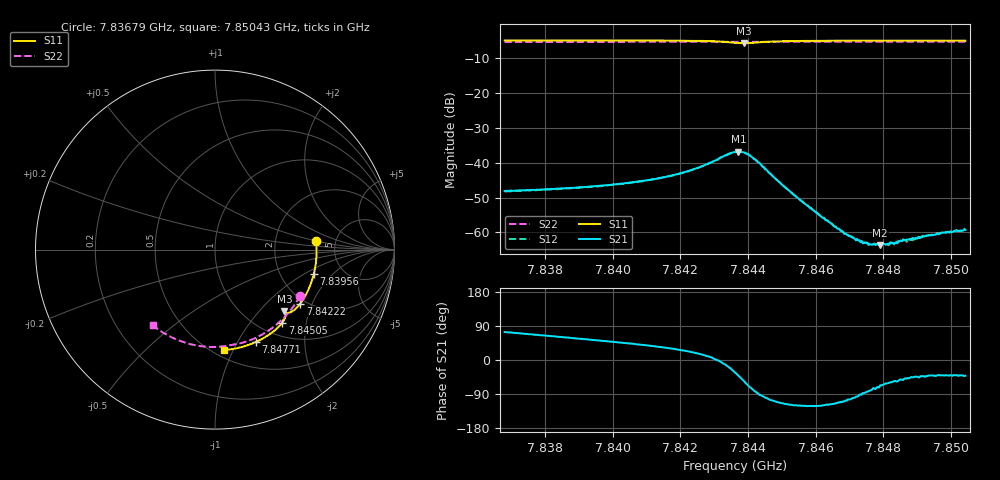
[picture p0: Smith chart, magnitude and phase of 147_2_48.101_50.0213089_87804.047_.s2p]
#  HZ  S  RI  R  50.00
! Rohde & Schwarz Vector Network Analyzer
! Rohde-Schwarz,ZNB20-2Port,1311601062101988,3.16
! Created: UTC 12/23/2023, 3:49:23 AM
! freq[Hz]  re:S11  im:S11  re:S21  im:S21  re:S12  im:S12  re:S22  im:S22
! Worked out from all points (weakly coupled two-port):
!   401 points, 7.83679 GHz to 7.85043 GHz, reference 50 ohm
!   highest |S21| = -36.82 dB at 7.84372 GHz (marker M1); lowest = -63.6 dB at 7.84791 GHz (marker M2)
!   lowest |S11| = -5.7 dB at 7.84389 GHz (marker M3), VSWR 3.14, Z = 73.9 - j69.5 ohm
!   |S11| at or under -10 dB: nowhere
!   |S22| runs from -5.4 to -5.3 dB; largest |S21 - S12| = 0.00043
!   S11 on the Smith chart (normalised r, x): 7.83679 GHz: 3.53, +0.51; 7.83956 GHz: 3.09, -1.22; 7.84222 GHz: 1.87, -1.65; 7.84505 GHz: 1.25, -1.46; 7.84771 GHz: 0.79, -1.20; 7.85043 GHz: 0.56, -0.92
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7.836793e9  0.5639 0.0493  0.00109 0.00378  0.00112 0.00371  0.4741 -0.2576
7.839078e9  0.5575 -0.1022  0.0025 0.0037  0.00247 0.00364  0.3786 -0.3856
7.839555e9  0.5509 -0.1337  0.00287 0.00362  0.00278 0.00362  0.3539 -0.4083
7.841363e9  0.5079 -0.2488  0.00494 0.00341  0.0049 0.00344  0.2498 -0.4801
7.842215e9  0.4755 -0.3007  0.00694 0.00296  0.0069 0.003  0.1952 -0.5047
7.843613e9  0.3903 -0.351  0.0119 -0.00775  0.012 -0.00765  0.1013 -0.5295
7.843716e9  0.3867 -0.3484  0.0108 -0.00955  0.0108 -0.00955  0.095 -0.5306
7.843886e9  0.3862 -0.3444  0.00777 -0.0116  0.00772 -0.0116  0.0841 -0.5324
7.844295e9  0.394 -0.3568  0.000385 -0.0102  0.000358 -0.0102  0.0574 -0.5375
7.845046e9  0.3755 -0.4062  -0.00195 -0.00422  -0.00193 -0.00424  0.00507 -0.5425
7.845898e9  0.3332 -0.4502  -0.00111 -0.00181  -0.00112 -0.00183  -0.0552 -0.5408
7.84658e9  0.2951 -0.4781  -0.000504 -0.0011  -0.000501 -0.00111  -0.103 -0.5343
7.846989e9  0.2713 -0.4927  -0.000222 -0.000856  -0.000237 -0.000852  -0.1309 -0.5283
7.847399e9  0.2468 -0.5057  3.68e-05 -0.000693  -9.31e-06 -0.000726  -0.1587 -0.5208
7.847706e9  0.2281 -0.5145  0.000188 -0.000653  0.000176 -0.000645  -0.1792 -0.5143
7.84791e9  0.2156 -0.5199  0.000258 -0.000605  0.000221 -0.00063  -0.1927 -0.5095
7.848183e9  0.1985 -0.5268  0.000351 -0.000601  0.000337 -0.000571  -0.2105 -0.5027
7.848353e9  0.1878 -0.5308  0.000407 -0.000582  0.000427 -0.000566  -0.2216 -0.4981
7.848558e9  0.175 -0.535  0.000458 -0.00059  0.000452 -0.000605  -0.2346 -0.4922
7.848933e9  0.151 -0.5423  0.000582 -0.000561  0.000557 -0.000563  -0.2583 -0.4803
7.84924e9  0.131 -0.5473  0.000635 -0.00062  0.000653 -0.00061  -0.2771 -0.47
7.850434e9  0.0528 -0.5598  0.000809 -0.000718  0.000846 -0.000736  -0.3459 -0.4228
